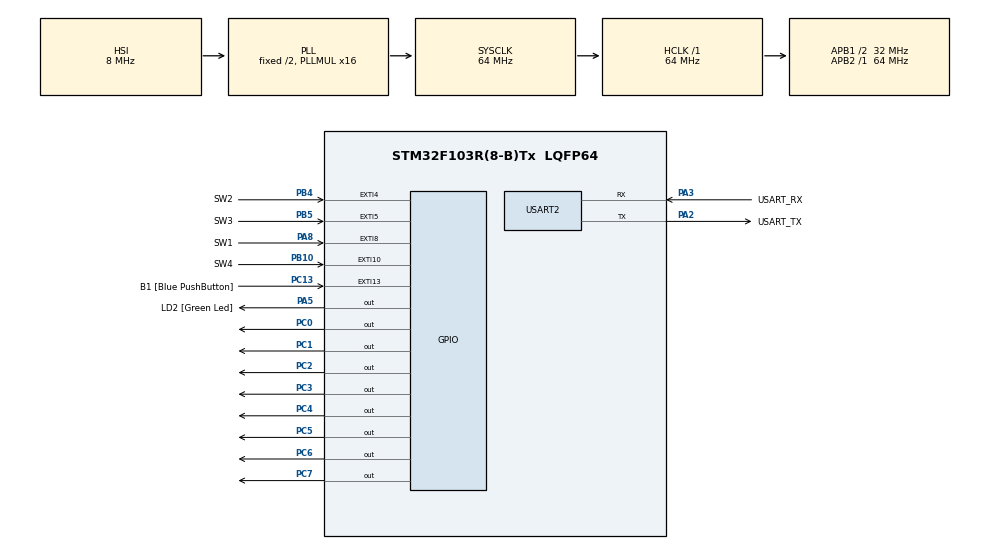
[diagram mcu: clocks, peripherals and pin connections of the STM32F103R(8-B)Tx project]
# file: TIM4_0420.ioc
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Mcu.Family=STM32F1
Mcu.Name=STM32F103R(8-B)Tx
Mcu.Package=LQFP64
NVIC.EXTI15_10_IRQn=true\:0\:0\:false\:false\:true\:true\:true\:true
NVIC.EXTI4_IRQn=true\:0\:0\:false\:false\:true\:true\:true\:true
NVIC.EXTI9_5_IRQn=true\:0\:0\:false\:false\:true\:true\:true\:true
NVIC.PriorityGroup=NVIC_PRIORITYGROUP_4
NVIC.TIM2_IRQn=true\:0\:0\:false\:false\:true\:true\:true\:true
PA13.GPIO_Label=TMS
PA13.Mode=Serial_Wire
PA13.Signal=SYS_JTMS-SWDIO
PA14.GPIO_Label=TCK
PA14.Mode=Serial_Wire
PA14.Signal=SYS_JTCK-SWCLK
PA2.GPIO_Label=USART_TX
PA2.GPIO_Mode=GPIO_MODE_AF_PP
PA2.GPIO_PuPd=GPIO_NOPULL
PA2.GPIO_Speed=GPIO_SPEED_FREQ_LOW
PA2.Mode=Asynchronous
PA2.Signal=USART2_TX
PA3.GPIO_Label=USART_RX
PA3.GPIO_Mode=GPIO_MODE_AF_PP
PA3.GPIO_PuPd=GPIO_NOPULL
PA3.GPIO_Speed=GPIO_SPEED_FREQ_LOW
PA3.Mode=Asynchronous
PA3.Signal=USART2_RX
PA5.GPIO_Label=LD2 [Green Led]
PA5.GPIO_ModeDefaultOutputPP=GPIO_MODE_OUTPUT_PP
PA5.GPIO_PuPd=GPIO_NOPULL
PA5.GPIO_Speed=GPIO_SPEED_FREQ_LOW
PA5.Signal=GPIO_Output
PA8.GPIO_Label=SW1
PA8.GPIO_ModeDefaultEXTI=GPIO_MODE_IT_FALLING
PA8.Signal=GPXTI8
PB10.GPIO_Label=SW4
PB10.Signal=GPXTI10
PB3.GPIO_Label=SWO
PB3.Signal=SYS_JTDO-TRACESWO
PB4.GPIO_Label=SW2
PB4.Signal=GPXTI4
PB5.GPIO_Label=SW3
PB5.Signal=GPXTI5
PC0.Signal=GPIO_Output
PC1.Signal=GPIO_Output
PC13-TAMPER-RTC.GPIO_Label=B1 [Blue PushButton]
PC13-TAMPER-RTC.GPIO_PuPd=GPIO_NOPULL
PC13-TAMPER-RTC.Signal=GPXTI13
PC14-OSC32_IN.Mode=LSE-External-Oscillator
PC14-OSC32_IN.Signal=RCC_OSC32_IN
PC15-OSC32_OUT.Mode=LSE-External-Oscillator
PC15-OSC32_OUT.Signal=RCC_OSC32_OUT
PC2.Signal=GPIO_Output
PC3.Signal=GPIO_Output
PC4.Signal=GPIO_Output
PC5.Signal=GPIO_Output
PC6.Signal=GPIO_Output
PC7.Signal=GPIO_Output
PD0-OSC_IN.Mode=HSE-External-Clock-Source
PD0-OSC_IN.Signal=RCC_OSC_IN
PD1-OSC_OUT.Mode=HSE-External-Clock-Source
PD1-OSC_OUT.Signal=RCC_OSC_OUT
ProjectManager.HeapSize=0x200
ProjectManager.StackSize=0x400
ProjectManager.TargetToolchain=STM32CubeIDE
RCC.AHBFreq_Value=64000000
RCC.APB1CLKDivider=RCC_HCLK_DIV2
RCC.APB1Freq_Value=32000000
RCC.APB1TimFreq_Value=64000000
RCC.APB2Freq_Value=64000000
RCC.APB2TimFreq_Value=64000000
RCC.HCLKFreq_Value=64000000
RCC.PLLMUL=RCC_PLL_MUL16
RCC.RTCClockSelection=RCC_RTCCLKSOURCE_LSE
RCC.SYSCLKFreq_VALUE=64000000
RCC.SYSCLKSource=RCC_SYSCLKSOURCE_PLLCLK
RCC.USBFreq_Value=64000000
TIM2.Channel-Output\ Compare1\ No\ Output=TIM_CHANNEL_1
TIM2.Channel-Output\ Compare2\ No\ Output=TIM_CHANNEL_2
TIM2.Period=10000-1
TIM2.Prescaler=6400-1
USART2.VirtualMode=VM_ASYNC
VP_TIM2_VS_ClockSourceINT.Mode=Internal
VP_TIM2_VS_no_output1.Mode=Output Compare1 No Output
VP_TIM2_VS_no_output2.Mode=Output Compare2 No Output
board=NUCLEO-F103RB

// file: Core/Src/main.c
/* USER CODE BEGIN Header */
/**
  ******************************************************************************
  * @file           : main.c
  * @brief          : Main program body
  ******************************************************************************
  * @attention
  *
  * Copyright (c) 2022 STMicroelectronics.
  * All rights reserved.
  *
  * This software is licensed under terms that can be found in the LICENSE file
  * in the root directory of this software component.
  * If no LICENSE file comes with this software, it is provided AS-IS.
  *
  ******************************************************************************
  */
/* USER CODE END Header */
#include "main.h"

/* USER CODE BEGIN PTD */
uint8_t flag_SW1;
uint8_t flag_SW2;
uint8_t flag_SW3;
uint8_t flag_SW4;
/* USER CODE END PTD */

 TIM_HandleTypeDef htim2;

UART_HandleTypeDef huart2;

/* USER CODE BEGIN PV */
 TIM_ClockConfigTypeDef sClockSourceConfig = {0};
 TIM_MasterConfigTypeDef sMasterConfig = {0};
 TIM_OC_InitTypeDef sConfigOC = {0};
/* USER CODE END PV */

void SystemClock_Config(void);
static void MX_GPIO_Init(void);
static void MX_USART2_UART_Init(void);
static void MX_TIM2_Init(void);

int main(void)
{

  /* MCU Configuration--------------------------------------------------------*/

  /* Reset of all peripherals, Initializes the Flash interface and the Systick. */
  HAL_Init();

  /* Configure the system clock */
  SystemClock_Config();

  /* Initialize all configured peripherals */
  MX_GPIO_Init();
  MX_USART2_UART_Init();
  MX_TIM2_Init();
  /* USER CODE BEGIN 2 */
  if(HAL_TIM_Base_Start_IT(&htim2)!= HAL_OK)
  {
  	Error_Handler();
  }
  if(HAL_TIM_OC_Start_IT(&htim2, TIM_CHANNEL_1) != HAL_OK)
  {
	  Error_Handler();
  }
  if(HAL_TIM_OC_Start_IT(&htim2, TIM_CHANNEL_2)!= HAL_OK)
  {
	  Error_Handler();
  }

  /* USER CODE END 2 */

  /* Infinite loop */
  while (1)
  {

  }
}

void SystemClock_Config(void)
{
  RCC_OscInitTypeDef RCC_OscInitStruct = {0};
  RCC_ClkInitTypeDef RCC_ClkInitStruct = {0};

  /** Initializes the RCC Oscillators according to the specified parameters
  * in the RCC_OscInitTypeDef structure.
  */
  RCC_OscInitStruct.OscillatorType = RCC_OSCILLATORTYPE_HSI;
  RCC_OscInitStruct.HSIState = RCC_HSI_ON;
  RCC_OscInitStruct.HSICalibrationValue = RCC_HSICALIBRATION_DEFAULT;
  RCC_OscInitStruct.PLL.PLLState = RCC_PLL_ON;
  RCC_OscInitStruct.PLL.PLLSource = RCC_PLLSOURCE_HSI_DIV2;
  RCC_OscInitStruct.PLL.PLLMUL = RCC_PLL_MUL16;
  if (HAL_RCC_OscConfig(&RCC_OscInitStruct) != HAL_OK)
  {
    Error_Handler();
  }

  /** Initializes the CPU, AHB and APB buses clocks
  */
  RCC_ClkInitStruct.ClockType = RCC_CLOCKTYPE_HCLK|RCC_CLOCKTYPE_SYSCLK
                              |RCC_CLOCKTYPE_PCLK1|RCC_CLOCKTYPE_PCLK2;
  RCC_ClkInitStruct.SYSCLKSource = RCC_SYSCLKSOURCE_PLLCLK;
  RCC_ClkInitStruct.AHBCLKDivider = RCC_SYSCLK_DIV1;
  RCC_ClkInitStruct.APB1CLKDivider = RCC_HCLK_DIV2;
  RCC_ClkInitStruct.APB2CLKDivider = RCC_HCLK_DIV1;

  if (HAL_RCC_ClockConfig(&RCC_ClkInitStruct, FLASH_LATENCY_2) != HAL_OK)
  {
    Error_Handler();
  }
}

static void MX_TIM2_Init(void)
{

  htim2.Instance = TIM2;
  htim2.Init.Prescaler = 6400-1;
  htim2.Init.CounterMode = TIM_COUNTERMODE_UP;
  htim2.Init.Period = 10000-1;
  htim2.Init.ClockDivision = TIM_CLOCKDIVISION_DIV1;
  htim2.Init.AutoReloadPreload = TIM_AUTORELOAD_PRELOAD_DISABLE;
  if (HAL_TIM_Base_Init(&htim2) != HAL_OK)
  {
    Error_Handler();
  }
  sClockSourceConfig.ClockSource = TIM_CLOCKSOURCE_INTERNAL;
  if (HAL_TIM_ConfigClockSource(&htim2, &sClockSourceConfig) != HAL_OK)
  {
    Error_Handler();
  }
  if (HAL_TIM_OC_Init(&htim2) != HAL_OK)
  {
    Error_Handler();
  }
  sMasterConfig.MasterOutputTrigger = TIM_TRGO_RESET;
  sMasterConfig.MasterSlaveMode = TIM_MASTERSLAVEMODE_DISABLE;
  if (HAL_TIMEx_MasterConfigSynchronization(&htim2, &sMasterConfig) != HAL_OK)
  {
    Error_Handler();
  }
  sConfigOC.OCMode = TIM_OCMODE_TIMING;
  sConfigOC.Pulse = 1000-1;
  sConfigOC.OCPolarity = TIM_OCPOLARITY_HIGH;
  sConfigOC.OCFastMode = TIM_OCFAST_DISABLE;
  if (HAL_TIM_OC_ConfigChannel(&htim2, &sConfigOC, TIM_CHANNEL_1) != HAL_OK)
  {
    Error_Handler();
  }
  if (HAL_TIM_OC_ConfigChannel(&htim2, &sConfigOC, TIM_CHANNEL_2) != HAL_OK)
  {
    Error_Handler();
  }

}

static void MX_USART2_UART_Init(void)
{

  huart2.Instance = USART2;
  huart2.Init.BaudRate = 115200;
  huart2.Init.WordLength = UART_WORDLENGTH_8B;
  huart2.Init.StopBits = UART_STOPBITS_1;
  huart2.Init.Parity = UART_PARITY_NONE;
  huart2.Init.Mode = UART_MODE_TX_RX;
  huart2.Init.HwFlowCtl = UART_HWCONTROL_NONE;
  huart2.Init.OverSampling = UART_OVERSAMPLING_16;
  if (HAL_UART_Init(&huart2) != HAL_OK)
  {
    Error_Handler();
  }

}

static void MX_GPIO_Init(void)
{
  GPIO_InitTypeDef GPIO_InitStruct = {0};

  /* GPIO Ports Clock Enable */
  __HAL_RCC_GPIOC_CLK_ENABLE();
  __HAL_RCC_GPIOD_CLK_ENABLE();
  __HAL_RCC_GPIOA_CLK_ENABLE();
  __HAL_RCC_GPIOB_CLK_ENABLE();

  /*Configure GPIO pin Output Level */
  HAL_GPIO_WritePin(GPIOC, GPIO_PIN_0|GPIO_PIN_1|GPIO_PIN_2|GPIO_PIN_3
                          |GPIO_PIN_4|GPIO_PIN_5|GPIO_PIN_6|GPIO_PIN_7, GPIO_PIN_RESET);

  /*Configure GPIO pin Output Level */
  HAL_GPIO_WritePin(LD2_GPIO_Port, LD2_Pin, GPIO_PIN_RESET);

  /*Configure GPIO pin : B1_Pin */
  GPIO_InitStruct.Pin = B1_Pin;
  GPIO_InitStruct.Mode = GPIO_MODE_IT_RISING;
  GPIO_InitStruct.Pull = GPIO_NOPULL;
  HAL_GPIO_Init(B1_GPIO_Port, &GPIO_InitStruct);

  /*Configure GPIO pins : PC0 PC1 PC2 PC3
                           PC4 PC5 PC6 PC7 */
  GPIO_InitStruct.Pin = GPIO_PIN_0|GPIO_PIN_1|GPIO_PIN_2|GPIO_PIN_3
                          |GPIO_PIN_4|GPIO_PIN_5|GPIO_PIN_6|GPIO_PIN_7;
  GPIO_InitStruct.Mode = GPIO_MODE_OUTPUT_PP;
  GPIO_InitStruct.Pull = GPIO_NOPULL;
  GPIO_InitStruct.Speed = GPIO_SPEED_FREQ_LOW;
  HAL_GPIO_Init(GPIOC, &GPIO_InitStruct);

  /*Configure GPIO pin : LD2_Pin */
  GPIO_InitStruct.Pin = LD2_Pin;
  GPIO_InitStruct.Mode = GPIO_MODE_OUTPUT_PP;
  GPIO_InitStruct.Pull = GPIO_NOPULL;
  GPIO_InitStruct.Speed = GPIO_SPEED_FREQ_LOW;
  HAL_GPIO_Init(LD2_GPIO_Port, &GPIO_InitStruct);

  /*Configure GPIO pins : SW4_Pin SW2_Pin SW3_Pin */
  GPIO_InitStruct.Pin = SW4_Pin|SW2_Pin|SW3_Pin;
  GPIO_InitStruct.Mode = GPIO_MODE_IT_RISING;
  GPIO_InitStruct.Pull = GPIO_NOPULL;
  HAL_GPIO_Init(GPIOB, &GPIO_InitStruct);

  /*Configure GPIO pin : SW1_Pin */
  GPIO_InitStruct.Pin = SW1_Pin;
  GPIO_InitStruct.Mode = GPIO_MODE_IT_FALLING;
  GPIO_InitStruct.Pull = GPIO_NOPULL;
  HAL_GPIO_Init(SW1_GPIO_Port, &GPIO_InitStruct);

  /* EXTI interrupt init*/
  HAL_NVIC_SetPriority(EXTI4_IRQn, 0, 0);
  HAL_NVIC_EnableIRQ(EXTI4_IRQn);

  HAL_NVIC_SetPriority(EXTI9_5_IRQn, 0, 0);
  HAL_NVIC_EnableIRQ(EXTI9_5_IRQn);

  HAL_NVIC_SetPriority(EXTI15_10_IRQn, 0, 0);
  HAL_NVIC_EnableIRQ(EXTI15_10_IRQn);

}

/* USER CODE BEGIN 4 */
void HAL_GPIO_EXTI_Callback(uint16_t GPIO_PIN)
{
	if(GPIO_PIN == SW1_Pin)
	{
		//htim2.Instance ->CCR1 = 9999;
		//htim2.Instance ->CCR2 = 9999;
		_HAL_TIM_SET_COMPARE(&htim2, TIM_CHANNEL_1,10000-1);
		_HAL_TIM_SET_COMPARE(&htim2, TIM_CHANNEL_2,10000-1);
	}
	if(GPIO_PIN == SW2_Pin)
		{
		htim2.Instance ->CCR1 = 2500;
		}
	if(GPIO_PIN == SW3_Pin)
		{
		htim2.Instance ->CCR2 = 5000;
		}
	if(GPIO_PIN == SW4_Pin)
		{
		htim2.Instance ->CCR2 = 1200;
		}
//	if (HAL_TIM_OC_ConfigChannel(&htim2, &sConfigOC, TIM_CHANNEL_1) != HAL_OK)
//			{
//			  Error_Handler();
//			}
//	if (HAL_TIM_OC_ConfigChannel(&htim2, &sConfigOC, TIM_CHANNEL_2) != HAL_OK)
//			{
//			  Error_Handler();
//			}
}
void HAL_TIM_PeriodElapsedCallback(TIM_HandleTypeDef *htim)
{
	HAL_GPIO_WritePin(GPIOC, GPIO_PIN_0 | GPIO_PIN_1 | GPIO_PIN_6 | GPIO_PIN_7, GPIO_PIN_SET);
}
void HAL_TIM_OC_DelayElapsedCallback(TIM_HandleTypeDef *htim)
{
	if(htim2.Channel == HAL_TIM_ACTIVE_CHANNEL_1)
	{
		HAL_GPIO_WritePin(GPIOC, GPIO_PIN_0 | GPIO_PIN_1, GPIO_PIN_RESET);
	}
	if(htim2.Channel == HAL_TIM_ACTIVE_CHANNEL_2)
		{
			HAL_GPIO_WritePin(GPIOC, GPIO_PIN_6 | GPIO_PIN_7, GPIO_PIN_RESET);
		}
}
/* USER CODE END 4 */

void Error_Handler(void)
{
  __disable_irq();
  while (1)
  {
  }
}
